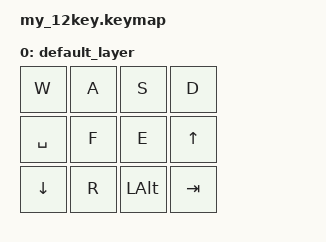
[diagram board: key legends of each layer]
/ {
    keymap {
        compatible = "zmk,keymap";

        default_layer {
// 行0
            bindings = <
                &kp W    &kp A      &kp S      &kp D
// 行1
                &kp SPACE      &kp F      &kp E      &kp UP
// 行2
                &kp DOWN      &kp R      &kp LALT      &kp TAB
            >;
        };
    };
};
